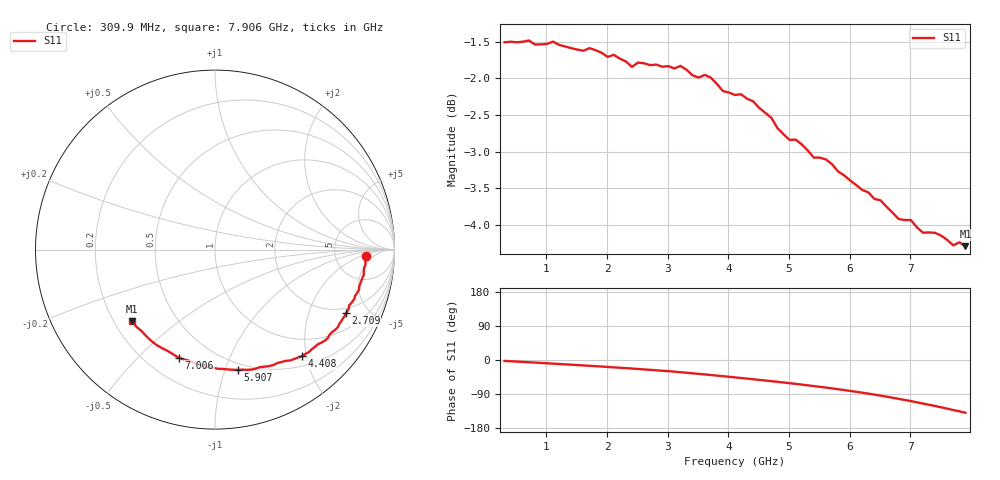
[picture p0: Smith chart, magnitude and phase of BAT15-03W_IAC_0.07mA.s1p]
! Infineon Technologies  Discrete & RF Semiconductors
! BAT15-03W-E6327
! IAC = 0.07 mA
! One-Port S-Parameters
# Hz  S  MA  R  50
!f  S11
!Hz  Mag  Ang
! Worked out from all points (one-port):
!   77 points, 309.9 MHz to 7.906 GHz, reference 50 ohm
!   lowest |S11| = -4.3 dB at 7.906 GHz (marker M1), VSWR 4.13, Z = 13.7 - j17.4 ohm
!   |S11| at or under -10 dB: nowhere
!   S11 on the Smith chart (normalised r, x): 309.9 MHz: 11, -3; 2.709 GHz: 1.72, -3.56; 4.408 GHz: 0.67, -1.92; 5.907 GHz: 0.44, -1.11; 7.006 GHz: 0.33, -0.67; 7.906 GHz: 0.27, -0.35
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3.0985e8  0.8404 -2.5
7.0965e8  0.8429 -5.9
8.096e8  0.8375 -6.8
1.10945e9  0.8414 -9.6
1.30935e9  0.8349 -11.5
1.70915e9  0.8327 -15.3
2.2089e9  0.8192 -20.5
2.4088e9  0.8087 -22.5
2.50875e9  0.8141 -23.7
2.70865e9  0.8108 -26.0
3.2084e9  0.8099 -32.2
3.50825e9  0.7952 -36.6
3.6082e9  0.7984 -38.0
4.10795e9  0.7737 -45.9
4.4078e9  0.766 -50.9
5.0075e9  0.721 -61.2
5.10745e9  0.7213 -63.0
5.4073e9  0.7012 -68.9
5.6072e9  0.6992 -72.8
5.90705e9  0.6819 -79.3
6.007e9  0.6765 -81.6
6.50675e9  0.6557 -94.0
6.8066e9  0.6367 -102.5
7.0065e9  0.6357 -108.4
7.2064e9  0.6232 -115.0
7.50625e9  0.6204 -124.8
7.8061e9  0.6139 -135.5
7.90605e9  0.6102 -139.2
